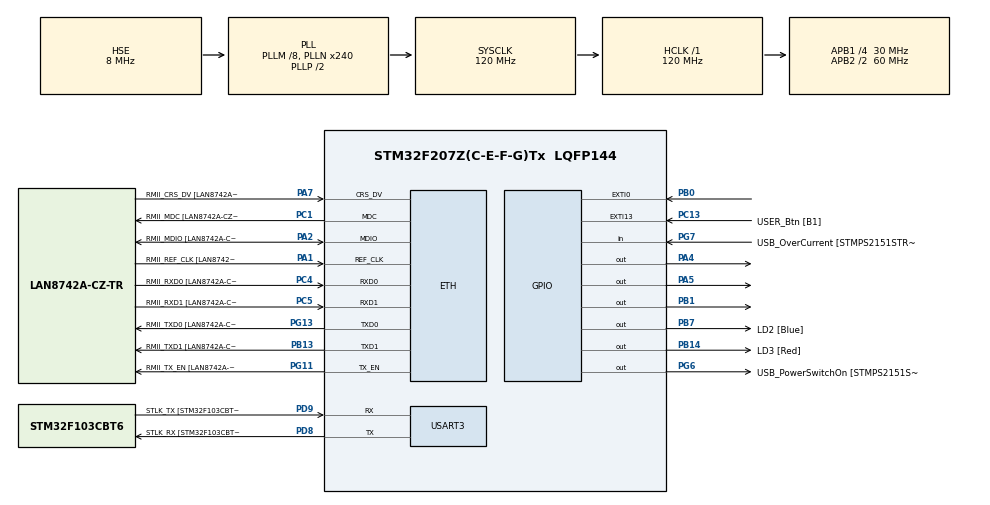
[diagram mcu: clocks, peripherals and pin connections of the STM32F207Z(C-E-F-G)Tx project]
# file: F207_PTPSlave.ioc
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ETH.MACAddr=00\:80\:E1\:00\:00\:01
ETH.MediaInterface=ETH_MEDIA_INTERFACE_RMII
ETH.PHY_Name=LAN8742A_PHY_ADDRESS
ETH.PHY_Value=0
ETH.PhyAddress=0
FREERTOS.Tasks01=startTask,-2,128,StartTask,Default,NULL,Dynamic,NULL,NULL
FREERTOS.Timers01=myTimer01,Callback01,osTimerPeriodic,Default,NULL,Dynamic,NULL
FREERTOS.configMAX_TASK_NAME_LEN=25
FREERTOS.configUSE_TIMERS=1
LWIP.LWIP_DNS=1
LWIP.Version=v2.0.3_Cube
Mcu.Family=STM32F2
Mcu.Name=STM32F207Z(C-E-F-G)Tx
Mcu.Package=LQFP144
NVIC.ETH_IRQn=true\:5\:0\:false\:false\:true\:true\:true\:true
NVIC.EXTI0_IRQn=true\:5\:0\:false\:false\:true\:true\:true\:true
NVIC.PriorityGroup=NVIC_PRIORITYGROUP_4
NVIC.TIM1_UP_TIM10_IRQn=true\:0\:0\:false\:false\:true\:false\:false\:true
NVIC.TimeBase=TIM1_UP_TIM10_IRQn
NVIC.TimeBaseIP=TIM1
PA1.GPIO_Label=RMII_REF_CLK [LAN8742A-CZ-TR_REFCLK0]
PA1.Mode=RMII
PA1.Signal=ETH_REF_CLK
PA13.GPIO_Label=TMS
PA13.Mode=Serial_Wire
PA13.Signal=SYS_JTMS-SWDIO
PA14.GPIO_Label=TCK
PA14.Mode=Serial_Wire
PA14.Signal=SYS_JTCK-SWCLK
PA2.GPIO_Label=RMII_MDIO [LAN8742A-CZ-TR_MDIO]
PA2.Mode=RMII
PA2.Signal=ETH_MDIO
PA4.Signal=GPIO_Output
PA5.Signal=GPIO_Output
PA7.GPIO_Label=RMII_CRS_DV [LAN8742A-CZ-TR_CRS_DV]
PA7.Mode=RMII
PA7.Signal=ETH_CRS_DV
PB0.Signal=GPXTI0
PB1.Signal=GPIO_Output
PB13.GPIO_Label=RMII_TXD1 [LAN8742A-CZ-TR_TXD1]
PB13.Mode=RMII
PB13.Signal=ETH_TXD1
PB14.GPIO_Label=LD3 [Red]
PB14.Signal=GPIO_Output
PB3.GPIO_Label=SWO
PB3.Signal=SYS_JTDO-SWO
PB7.GPIO_Label=LD2 [Blue]
PB7.Signal=GPIO_Output
PC1.GPIO_Label=RMII_MDC [LAN8742A-CZ-TR_MDC]
PC1.Mode=RMII
PC1.Signal=ETH_MDC
PC13.GPIO_Label=USER_Btn [B1]
PC13.Signal=GPXTI13
PC14-OSC32_IN.Mode=LSE-External-Oscillator
PC14-OSC32_IN.Signal=RCC_OSC32_IN
PC15-OSC32_OUT.Mode=LSE-External-Oscillator
PC15-OSC32_OUT.Signal=RCC_OSC32_OUT
PC4.GPIO_Label=RMII_RXD0 [LAN8742A-CZ-TR_RXD0]
PC4.Mode=RMII
PC4.Signal=ETH_RXD0
PC5.GPIO_Label=RMII_RXD1 [LAN8742A-CZ-TR_RXD1]
PC5.Mode=RMII
PC5.Signal=ETH_RXD1
PD8.GPIO_Label=STLK_RX [STM32F103CBT6_PA3]
PD8.Mode=Asynchronous
PD8.Signal=USART3_TX
PD9.GPIO_Label=STLK_TX [STM32F103CBT6_PA2]
PD9.Mode=Asynchronous
PD9.Signal=USART3_RX
PG11.GPIO_Label=RMII_TX_EN [LAN8742A-CZ-TR_TXEN]
PG11.Mode=RMII
PG11.Signal=ETH_TX_EN
PG13.GPIO_Label=RMII_TXD0 [LAN8742A-CZ-TR_TXD0]
PG13.Mode=RMII
PG13.Signal=ETH_TXD0
PG6.GPIO_Label=USB_PowerSwitchOn [STMPS2151STR_EN]
PG6.Signal=GPIO_Output
PG7.GPIO_Label=USB_OverCurrent [STMPS2151STR_FAULT]
PG7.Signal=GPIO_Input
PH0-OSC_IN.GPIO_Label=MCO [STM32F103CBT6_PA8]
PH0-OSC_IN.Mode=HSE-External-Oscillator
PH0-OSC_IN.Signal=RCC_OSC_IN
PH1-OSC_OUT.Mode=HSE-External-Oscillator
PH1-OSC_OUT.Signal=RCC_OSC_OUT
ProjectManager.HeapSize=0x2000
ProjectManager.StackSize=0x4000
ProjectManager.TargetToolchain=STM32CubeIDE
RCC.48MHZClocksFreq_Value=48000000
RCC.AHBFreq_Value=120000000
RCC.APB1CLKDivider=RCC_HCLK_DIV4
RCC.APB1Freq_Value=30000000
RCC.APB1TimFreq_Value=60000000
RCC.APB2CLKDivider=RCC_HCLK_DIV2
RCC.APB2Freq_Value=60000000
RCC.APB2TimFreq_Value=120000000
RCC.CortexFreq_Value=120000000
RCC.HCLKFreq_Value=120000000
RCC.HSE_VALUE=8000000
RCC.HSI_VALUE=16000000
RCC.PLLM=8
RCC.PLLMUL=RCC_PLL_MUL9
RCC.PLLN=240
RCC.PLLQ=5
RCC.PLLSourceVirtual=RCC_PLLSOURCE_HSE
RCC.PRESCALERUSB=RCC_USBCLKSOURCE_PLL_DIV1_5
RCC.SYSCLKFreq_VALUE=120000000
RCC.SYSCLKSource=RCC_SYSCLKSOURCE_PLLCLK
RCC.SYSCLKSourceVirtual=RCC_SYSCLKSOURCE_PLLCLK
RCC.USBFreq_Value=48000000
RCC.VCOOutputFreq_Value=240000000
USART3.VirtualMode=VM_ASYNC
VP_FREERTOS_VS_CMSIS_V1.Mode=CMSIS_V1
VP_LWIP_VS_Enabled.Mode=Enabled
VP_SYS_VS_tim1.Mode=TIM1
board=NUCLEO-F207ZG

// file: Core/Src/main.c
/* USER CODE BEGIN Header */
/**
 ******************************************************************************
 * @file           : main.c
 * @brief          : Main program body
 ******************************************************************************
 * @attention
 *
 * <h2><center>&copy; Copyright (c) 2021 STMicroelectronics.
 * All rights reserved.</center></h2>
 *
 * This software component is licensed by ST under Ultimate Liberty license
 * SLA0044, the "License"; You may not use this file except in compliance with
 * the License. You may obtain a copy of the License at:
 *                             www.st.com/SLA0044
 *
 ******************************************************************************
 */
/* USER CODE END Header */
#include "main.h"
#include "cmsis_os.h"
#include "lwip.h"

/* USER CODE BEGIN Includes */
#include "tcp_client.h"
#include "ptpd.h"
/* USER CODE END Includes */

UART_HandleTypeDef huart3;

osThreadId startTaskHandle;
osTimerId myTimer01Handle;

void SystemClock_Config(void);
static void MX_GPIO_Init(void);
static void MX_USART3_UART_Init(void);
void StartTask(void const *argument);
void Callback01(void const *argument);

/* USER CODE BEGIN 0 */
#ifdef __GNUC__
#define PUTCHAR_PROTOTYPE int __io_putchar(int ch)
#else
#define PUTCHAR_PROTOTYPE int fputc(int ch, FILE *f)
#endif
PUTCHAR_PROTOTYPE
{
	//HAL_UART_Transmit(&huart1 , (uint8_t *)&ch, 1 , 0xffff);
	while ((USART3->SR & 0X40) == 0)
		;
	USART3->DR = (uint8_t) ch;
	return ch;
}
/* USER CODE END 0 */

int main(void)
{

	/* MCU Configuration--------------------------------------------------------*/

	/* Reset of all peripherals, Initializes the Flash interface and the Systick. */
	HAL_Init();

	/* Configure the system clock */
	SystemClock_Config();

	/* Initialize all configured peripherals */
	MX_GPIO_Init();
	MX_USART3_UART_Init();

	/* Create the timer(s) */
	/* definition and creation of myTimer01 */
	osTimerDef(myTimer01, Callback01);
	myTimer01Handle = osTimerCreate(osTimer(myTimer01), osTimerPeriodic, NULL);

	/* Create the thread(s) */
	/* definition and creation of startTask */
	osThreadDef(startTask, StartTask, osPriorityLow, 0, 128);
	startTaskHandle = osThreadCreate(osThread(startTask), NULL);

	/* Start scheduler */
	osKernelStart();

	/* We should never get here as control is now taken by the scheduler */
	/* Infinite loop */
	while (1)
	{

	}
}

void SystemClock_Config(void)
{
	RCC_OscInitTypeDef RCC_OscInitStruct =
	{ 0 };
	RCC_ClkInitTypeDef RCC_ClkInitStruct =
	{ 0 };

	/** Initializes the RCC Oscillators according to the specified parameters
	 * in the RCC_OscInitTypeDef structure.
	 */
	RCC_OscInitStruct.OscillatorType = RCC_OSCILLATORTYPE_HSE;
	RCC_OscInitStruct.HSEState = RCC_HSE_ON;
	RCC_OscInitStruct.PLL.PLLState = RCC_PLL_ON;
	RCC_OscInitStruct.PLL.PLLSource = RCC_PLLSOURCE_HSE;
	RCC_OscInitStruct.PLL.PLLM = 8;
	RCC_OscInitStruct.PLL.PLLN = 240;
	RCC_OscInitStruct.PLL.PLLP = RCC_PLLP_DIV2;
	RCC_OscInitStruct.PLL.PLLQ = 5;
	if (HAL_RCC_OscConfig(&RCC_OscInitStruct) != HAL_OK)
	{
		Error_Handler();
	}
	/** Initializes the CPU, AHB and APB buses clocks
	 */
	RCC_ClkInitStruct.ClockType = RCC_CLOCKTYPE_HCLK | RCC_CLOCKTYPE_SYSCLK
			| RCC_CLOCKTYPE_PCLK1 | RCC_CLOCKTYPE_PCLK2;
	RCC_ClkInitStruct.SYSCLKSource = RCC_SYSCLKSOURCE_PLLCLK;
	RCC_ClkInitStruct.AHBCLKDivider = RCC_SYSCLK_DIV1;
	RCC_ClkInitStruct.APB1CLKDivider = RCC_HCLK_DIV4;
	RCC_ClkInitStruct.APB2CLKDivider = RCC_HCLK_DIV2;

	if (HAL_RCC_ClockConfig(&RCC_ClkInitStruct, FLASH_LATENCY_3) != HAL_OK)
	{
		Error_Handler();
	}
}

static void MX_USART3_UART_Init(void)
{

	huart3.Instance = USART3;
	huart3.Init.BaudRate = 115200;
	huart3.Init.WordLength = UART_WORDLENGTH_8B;
	huart3.Init.StopBits = UART_STOPBITS_1;
	huart3.Init.Parity = UART_PARITY_NONE;
	huart3.Init.Mode = UART_MODE_TX_RX;
	huart3.Init.HwFlowCtl = UART_HWCONTROL_NONE;
	huart3.Init.OverSampling = UART_OVERSAMPLING_16;
	if (HAL_UART_Init(&huart3) != HAL_OK)
	{
		Error_Handler();
	}

}

static void MX_GPIO_Init(void)
{
	GPIO_InitTypeDef GPIO_InitStruct =
	{ 0 };

	/* GPIO Ports Clock Enable */
	__HAL_RCC_GPIOC_CLK_ENABLE();
	__HAL_RCC_GPIOH_CLK_ENABLE();
	__HAL_RCC_GPIOA_CLK_ENABLE();
	__HAL_RCC_GPIOB_CLK_ENABLE();
	__HAL_RCC_GPIOD_CLK_ENABLE();
	__HAL_RCC_GPIOG_CLK_ENABLE();

	/*Configure GPIO pin Output Level */
	HAL_GPIO_WritePin(GPIOA, GPIO_PIN_4 | GPIO_PIN_5, GPIO_PIN_RESET);

	/*Configure GPIO pin Output Level */
	HAL_GPIO_WritePin(GPIOB, GPIO_PIN_1 | LD3_Pin | LD2_Pin, GPIO_PIN_RESET);

	/*Configure GPIO pin Output Level */
	HAL_GPIO_WritePin(USB_PowerSwitchOn_GPIO_Port, USB_PowerSwitchOn_Pin,
			GPIO_PIN_RESET);

	/*Configure GPIO pin : USER_Btn_Pin */
	GPIO_InitStruct.Pin = USER_Btn_Pin;
	GPIO_InitStruct.Mode = GPIO_MODE_IT_RISING;
	GPIO_InitStruct.Pull = GPIO_NOPULL;
	HAL_GPIO_Init(USER_Btn_GPIO_Port, &GPIO_InitStruct);

	/*Configure GPIO pins : PA4 PA5 */
	GPIO_InitStruct.Pin = GPIO_PIN_4 | GPIO_PIN_5;
	GPIO_InitStruct.Mode = GPIO_MODE_OUTPUT_PP;
	GPIO_InitStruct.Pull = GPIO_NOPULL;
	GPIO_InitStruct.Speed = GPIO_SPEED_FREQ_LOW;
	HAL_GPIO_Init(GPIOA, &GPIO_InitStruct);

	/*Configure GPIO pin : PB0 */
	GPIO_InitStruct.Pin = GPIO_PIN_0;
	GPIO_InitStruct.Mode = GPIO_MODE_IT_RISING;
	GPIO_InitStruct.Pull = GPIO_NOPULL;
	HAL_GPIO_Init(GPIOB, &GPIO_InitStruct);

	/*Configure GPIO pins : PB1 LD3_Pin LD2_Pin */
	GPIO_InitStruct.Pin = GPIO_PIN_1 | LD3_Pin | LD2_Pin;
	GPIO_InitStruct.Mode = GPIO_MODE_OUTPUT_PP;
	GPIO_InitStruct.Pull = GPIO_NOPULL;
	GPIO_InitStruct.Speed = GPIO_SPEED_FREQ_LOW;
	HAL_GPIO_Init(GPIOB, &GPIO_InitStruct);

	/*Configure GPIO pin : USB_PowerSwitchOn_Pin */
	GPIO_InitStruct.Pin = USB_PowerSwitchOn_Pin;
	GPIO_InitStruct.Mode = GPIO_MODE_OUTPUT_PP;
	GPIO_InitStruct.Pull = GPIO_NOPULL;
	GPIO_InitStruct.Speed = GPIO_SPEED_FREQ_LOW;
	HAL_GPIO_Init(USB_PowerSwitchOn_GPIO_Port, &GPIO_InitStruct);

	/*Configure GPIO pin : USB_OverCurrent_Pin */
	GPIO_InitStruct.Pin = USB_OverCurrent_Pin;
	GPIO_InitStruct.Mode = GPIO_MODE_INPUT;
	GPIO_InitStruct.Pull = GPIO_NOPULL;
	HAL_GPIO_Init(USB_OverCurrent_GPIO_Port, &GPIO_InitStruct);

	/* EXTI interrupt init*/
	HAL_NVIC_SetPriority(EXTI0_IRQn, 5, 0);
	HAL_NVIC_EnableIRQ(EXTI0_IRQn);

}

void StartTask(void const *argument)
{
	/* init code for LWIP */
	MX_LWIP_Init();
	/* USER CODE BEGIN 5 */
	//UBaseType_t restStack = 0;
	osDelay(3000);

//  osThreadDef(TCPClient, tcp_client_task, osPriorityNormal, 0, 2048);
//  TCPTaskHandle = osThreadCreate(osThread(TCPClient), NULL);

	osThreadId ptpTaskHandle = ptpd_init();
	/* Infinite loop */
	for (;;)
	{
		//restStack = uxTaskGetStackHighWaterMark(ptpTaskHandle);
		//printf("PTP task rest stack:%d byte\n",restStack*4);
		osDelay(2000);
		//TimeInternal tmpTime;
		//getTime(&tmpTime);
		//printf("(D %d.%09d) count: %d \n", tmpTime.seconds, tmpTime.nanoseconds,htim2.Instance->CNT);
	}
	/* USER CODE END 5 */
}

void HAL_TIM_TriggerCallback(TIM_HandleTypeDef *htim)
{
	UNUSED(htim);
	DBG("HAL_TIM_TriggerCallback\n");
}

/* Callback01 function */
void Callback01(void const *argument)
{
}

void HAL_TIM_PeriodElapsedCallback(TIM_HandleTypeDef *htim)
{
	if (htim->Instance == TIM1)
	{
		HAL_IncTick();
	}
}

void Error_Handler(void)
{
	__disable_irq();
	while (1)
	{
	}
}

/************************ (C) COPYRIGHT STMicroelectronics *****END OF FILE****/
